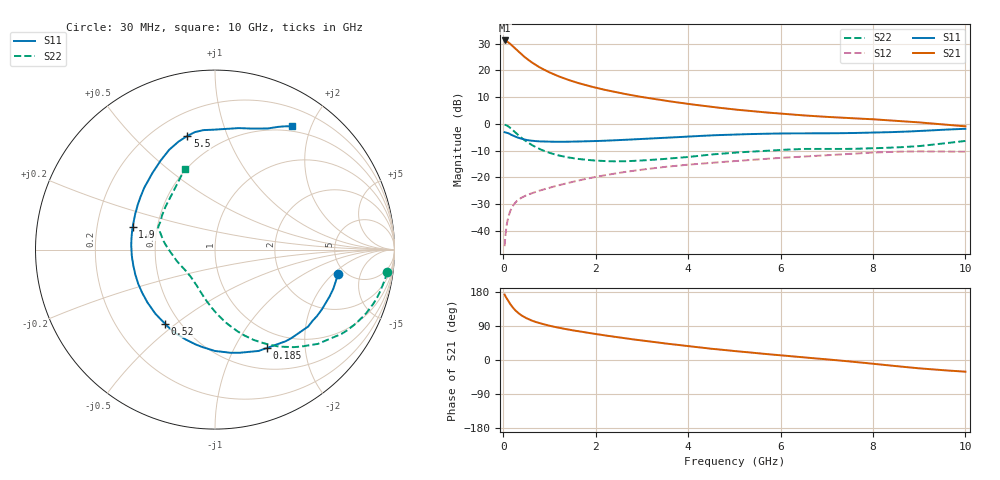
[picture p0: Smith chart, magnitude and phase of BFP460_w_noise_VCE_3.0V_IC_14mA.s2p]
! (c) 2016  Infineon Technologies AG, Munich
! Infineon Technologies  Discrete & RF Semiconductors
! BFP460
! VCE =  3.0 V,  IC =  14 mA
! Common Emitter S-Parameters:  Jan 2016
# GHz  S  MA  R  50
!  f  S11  S21  S12  S22
! GHz  MAG  ANG  MAG  ANG  MAG  ANG  MAG  ANG
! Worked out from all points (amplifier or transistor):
!   229 points, 30 MHz to 10 GHz, reference 50 ohm
!   highest |S21| = 31.2 dB at 30 MHz (marker M1)
!   |S21| within 3 dB of that: start of sweep to 260 MHz
!   unconditionally stable (mu >= 1): 2.117 GHz to 7.782 GHz
!   at 280 MHz: K = 0.33, MSG = 28.5 dB, |S12| = -29.1 dB
!   at 1.78 GHz: K = 0.97, MSG = 17.5 dB, |S12| = -20.6 dB
!   at 10 GHz: K = 0.97, MSG = 4.7 dB, |S12| = -10.4 dB
!   lowest NFmin = 1.09 dB at 450 MHz
!   S11 on the Smith chart (normalised r, x): 30 MHz: 4.40, -2.30; 185 MHz: 0.76, -1.36; 520 MHz: 0.42, -0.46; 1.9 GHz: 0.36, +0.12; 5.5 GHz: 0.33, +0.73; 10 GHz: 0.43, +1.72
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0.03  0.6996 -11.0  36.28 172.7  0.0052 84.4  0.9659 -7.4
0.07  0.685 -25.9  35.22 163.3  0.0121 78.5  0.9413 -16.7
0.12  0.6635 -42.9  32.96 153.2  0.0195 70.8  0.8863 -27.7
0.15  0.6447 -52.4  31.39 147.6  0.0234 67.3  0.8467 -33.7
0.185  0.6196 -62.3  29.5 142.0  0.0271 63.4  0.7963 -39.7
0.2  0.6148 -66.7  28.78 139.4  0.0287 62.1  0.7776 -42.5
0.26  0.5814 -81.4  25.69 131.3  0.0337 57.3  0.6973 -51.2
0.34  0.5471 -97.6  22.07 122.7  0.0389 53.2  0.6044 -60.8
0.45  0.5147 -115.3  18.17 113.6  0.0443 50.1  0.5057 -71.1
0.52  0.4985 -123.9  16.3 109.5  0.0471 49.2  0.4584 -76.0
0.7  0.478 -141.9  12.67 100.4  0.0537 48.4  0.3695 -86.8
0.9  0.4685 -155.9  10.13 93.3  0.0607 48.8  0.3094 -95.8
1.28  0.4644 -174.6  7.295 83.3  0.0745 49.8  0.249 -108.8
1.7  0.4708 170.5  5.563 74.3  0.0905 49.8  0.2179 -120.2
1.9  0.4759 164.6  5 70.5  0.0983 49.4  0.2097 -125.2
2.6  0.5041 146.9  3.677 58.0  0.1253 46.4  0.2007 -143.1
3.4  0.5444 131.1  2.809 45.4  0.1539 41.3  0.2186 -161.4
5.1  0.638 107.7  1.828 22.5  0.205 30.2  0.2944 169.4
5.5  0.6519 103.7  1.693 17.9  0.2175 27.7  0.3075 165.7
6.8  0.6678 92.7  1.389 3.9  0.254 18.9  0.341 157.4
8.4  0.703 73.6  1.161 -14.9  0.3006 5.4  0.3609 141.3
10  0.8112 58.0  0.902 -30.8  0.3029 -7.0  0.4807 110.3
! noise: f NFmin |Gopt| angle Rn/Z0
0.45  1.09  0.04  41  0.14
1.9  1.24  0.11  -165  0.12
3.5  1.23  0.36  -131  0.13
